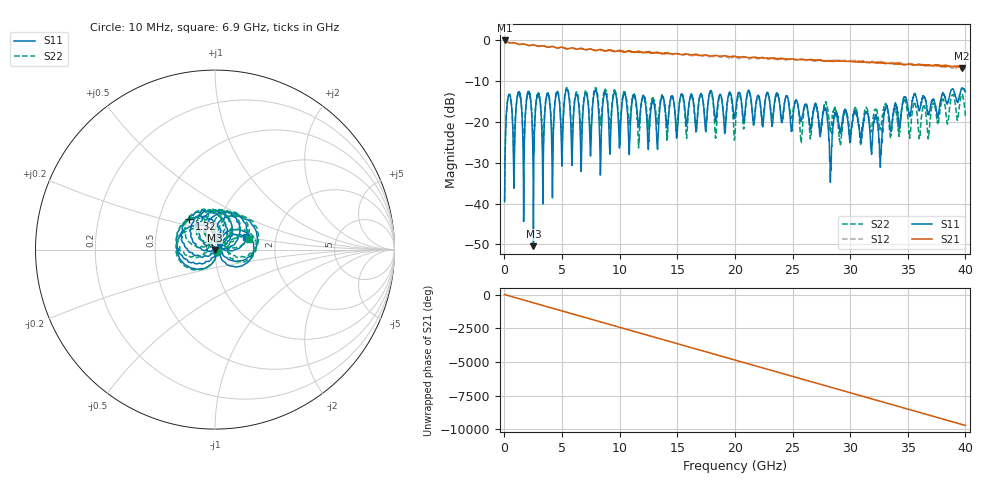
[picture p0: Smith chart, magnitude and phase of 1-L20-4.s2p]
! 2/21/2025 7:06:11 AM
! Z:\OQC\AD5\613\LOT-141-0825\SINGLE\1-L20-4.S2P
! CHANNEL.1
! TR.MEASUREMENT
! CORRECTED.DATA
! RF.CORRECTION: FULL.FOUR.PORT.CAL.PORT.1.2.3.4
! AVERAGING.OFF
! IF.BANDWIDTH: 1KHZ
! SWEEPTYPE:  FREQ.SWEEP(Linear)
! Reference Plane Port Info
! PORT:  PORT1  PORT2
! DISTANCE:  0  m  0  m
! TIME:  0  s  0  s
! PHASE.OFFSET:  0 °  0 °
! LOSS:  0  dB  0  dB
! REF.LOSS:  0  dB  0  dB
! REF.FREQ:  0  Hz  0  Hz
! Power Info
! POWER:  -10  dBm  -10  dBm
! EFF.POWER:  -10  dBm  -10  dBm
! SOURCE.ATTEN:  0  dB  0  dB
! TEST.ATTEN:  0  dB  0  dB
# GHZ S RI R 50.0
! FREQ.GHZ  S11RE  S11IM  S21RE  S21IM  S12RE  S12IM  S22RE  S22IM
!; PortSelection: Port_12
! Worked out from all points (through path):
!   4000 points, 10 MHz to 40 GHz, reference 50 ohm
!   highest |S21| = -0.08 dB at 10 MHz (marker M1); lowest = -6.8 dB at 39.7 GHz (marker M2)
!   group delay of S21, straight-line fit = 673 ps
!   lowest |S11| = -50.4 dB at 2.51 GHz (marker M3), VSWR 1.01, Z = 49.7 - j0.163 ohm
!   |S11| at or under -10 dB: start of sweep to end of sweep
!   |S22| runs from -39.4 to -11.6 dB; largest |S21 - S12| = 0.035
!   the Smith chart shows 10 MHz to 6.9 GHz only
!   S11 on the Smith chart (normalised r, x): 10 MHz: 1.02, -0.01; 1.32 GHz: 0.71, +0.25; 6.9 GHz: 1.40, +0.20
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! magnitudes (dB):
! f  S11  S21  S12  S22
! 10 MHz  -39.5  -0.1  -0.1  -39.4
! 340 MHz  -13.8  -0.6  -0.6  -13.6
! 810 MHz  -36.2  -0.6  -0.6  -28.7
! 1.32 GHz  -13.1  -1.1  -1.0  -13.0
! 1.66 GHz  -44.4  -0.9  -0.9  -26.6
! 2.14 GHz  -13.0  -1.4  -1.3  -12.6
! 2.51 GHz  -50.4  -1.2  -1.2  -26.1
! 2.9 GHz  -13.1  -1.5  -1.5  -13.1
! 4.16 GHz  -38.6  -1.6  -1.6  -25.6
! 5.41 GHz  -12.0  -2.2  -2.1  -11.8
! 6.68 GHz  -28.8  -2.0  -2.0  -22.4
! 6.9 GHz  -14.7  -2.3  -2.2  -14.0
! 13.34 GHz  -23.5  -3.1  -3.1  -19.4
! 20.01 GHz  -18.1  -4.0  -4.1  -22.9
! 26.67 GHz  -20.6  -4.7  -4.9  -21.1
! 27.84 GHz  -16.6  -5.1  -5.2  -15.2
! 28.29 GHz  -33.2  -5.2  -5.2  -22.6
! 28.75 GHz  -18.4  -5.1  -4.9  -17.2
! 32.63 GHz  -30.3  -5.5  -5.6  -21.9
! 33.34 GHz  -18.1  -5.7  -5.6  -19.5
! 39.7 GHz  -11.9  -6.8  -7.2  -13.5
! 40 GHz  -12.6  -6.6  -6.8  -18.7
